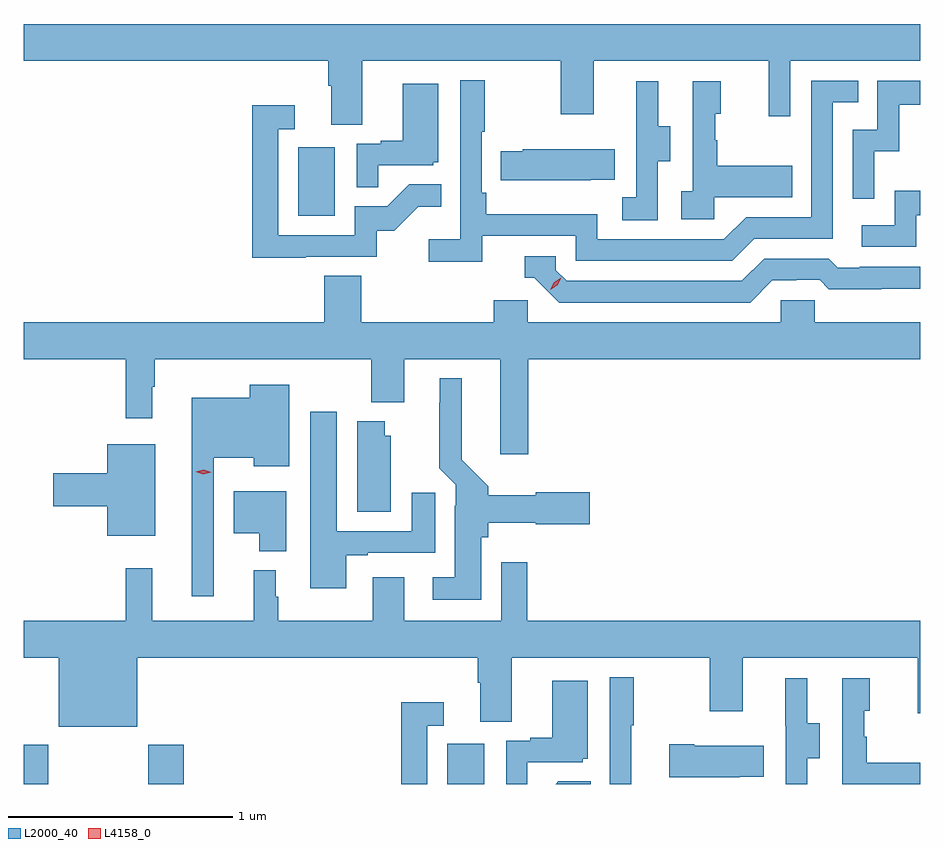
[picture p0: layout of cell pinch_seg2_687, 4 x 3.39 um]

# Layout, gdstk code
import gdstk
lib = gdstk.Library(unit=1e-6, precision=1e-09)
def R(c, l, rs):  # rectangles x0, y0, x1, y1
    for r in rs: c.add(gdstk.rectangle(r[:2], r[2:], *l))
def P(c, l, *ps):  # polygons
    for p in ps: c.add(gdstk.Polygon(p, *l))
L2000_40 = (2000, 40)
L4158_0 = (4158, 0)

pinch_seg2_687 = lib.new_cell('pinch_seg2_687')
R(pinch_seg2_687, L2000_40, [(1084.064,584.468,1084.173,584.644), (1084.618,584.468,1084.778,584.644), (1085.954,584.468,1086.118,584.647), (1085.288,587.004,1085.452,587.311)])
P(pinch_seg2_687, L2000_40, [(1085.575,587.696),(1086.46,587.696),(1086.46,587.457),(1086.607,587.457),(1086.607,587.696),(1087.388,587.696),(1087.388,587.448),(1087.485,587.448),(1087.485,587.696),(1088.064,587.696),(1088.064,587.86),(1084.064,587.86),(1084.064,587.696),(1085.423,587.696),(1085.423,587.584),(1085.435,587.584),(1085.435,587.41),(1085.575,587.41)],
  [(1086.11,586.914),(1086.528,586.914),(1086.528,586.803),(1087.225,586.803),(1087.324,586.902),(1087.674,586.902),(1087.674,587.511),(1087.787,587.511),(1087.787,587.607),(1087.578,587.607),(1087.578,586.998),(1087.287,586.998),(1087.188,586.899),(1086.624,586.899),(1086.624,587.011),(1086.128,587.011),(1086.128,587.107),(1086.108,587.107),(1086.108,587.38),(1086.121,587.38),(1086.121,587.608),(1086.012,587.608),(1086.012,586.9),(1085.871,586.9),(1085.871,586.798),(1086.11,586.798)],
  [(1087.86,587.291),(1087.97,587.291),(1087.97,587.499),(1088.064,587.499),(1088.064,587.607),(1087.872,587.607),(1087.872,587.388),(1087.764,587.388),(1087.764,587.079),(1087.86,587.079)],
  [(1086.894,587.248),(1086.949,587.248),(1086.949,587.403),(1086.895,587.403),(1086.895,587.605),(1086.797,587.605),(1086.797,587.391),(1086.798,587.391),(1086.798,587.087),(1086.735,587.087),(1086.735,586.984),(1086.894,586.984)],
  [(1087.146,587.087),(1087.493,587.087),(1087.493,587.227),(1087.159,587.227),(1087.159,587.342),(1087.149,587.342),(1087.149,587.46),(1087.174,587.46),(1087.174,587.605),(1087.05,587.605),(1087.05,587.114),(1086.999,587.114),(1086.999,586.989),(1087.146,586.989)],
  [(1085.645,587.229),(1085.892,587.229),(1085.892,587.244),(1085.914,587.244),(1085.914,587.593),(1085.756,587.593),(1085.756,587.338),(1085.657,587.338),(1085.657,587.325),(1085.55,587.325),(1085.55,587.131),(1085.645,587.131)],
  [(1085.321,586.821),(1085.64,586.821),(1085.64,586.938),(1085.716,586.938),(1085.823,587.045),(1085.927,587.045),(1085.927,587.144),(1085.783,587.144),(1085.685,587.046),(1085.541,587.046),(1085.541,586.917),(1085.199,586.917),(1085.199,587.391),(1085.272,587.391),(1085.272,587.497),(1085.083,587.497),(1085.083,586.816),(1085.321,586.816)],
  [(1086.593,587.165),(1086.701,587.165),(1086.701,587.302),(1086.291,587.302),(1086.291,587.292),(1086.193,587.292),(1086.193,587.162),(1086.593,587.162)],
  [(1088.046,587.007),(1088.064,587.007),(1088.064,587.116),(1087.95,587.116),(1087.95,586.962),(1087.803,586.962),(1087.803,586.866),(1088.046,586.866)],
  [(1087.405,586.716),(1087.512,586.716),(1087.512,586.719),(1087.615,586.719),(1087.657,586.677),(1087.89,586.677),(1087.89,586.679),(1088.064,586.679),(1088.064,586.776),(1087.795,586.776),(1087.795,586.773),(1087.696,586.773),(1087.657,586.812),(1087.368,586.812),(1087.269,586.713),(1086.486,586.713),(1086.438,586.761),(1086.438,586.824),(1086.299,586.824),(1086.299,586.728),(1086.342,586.728),(1086.453,586.617),(1087.306,586.617)],
  [(1084.064,586.364),(1084.519,586.364),(1084.519,586.101),(1084.636,586.101),(1084.636,586.241),(1084.648,586.241),(1084.648,586.364),(1085.614,586.364),(1085.614,586.172),(1085.761,586.172),(1085.761,586.364),(1086.191,586.364),(1086.191,585.939),(1086.314,585.939),(1086.314,586.364),(1088.064,586.364),(1088.064,586.528),(1087.593,586.528),(1087.593,586.626),(1087.443,586.626),(1087.443,586.528),(1086.312,586.528),(1086.312,586.626),(1086.161,586.626),(1086.161,586.528),(1085.57,586.528),(1085.57,586.736),(1085.405,586.736),(1085.405,586.528),(1084.064,586.528)],
  [(1086.106,585.57),(1086.137,585.57),(1086.137,585.635),(1086.348,585.635),(1086.348,585.628),(1086.589,585.628),(1086.589,585.77),(1086.348,585.77),(1086.348,585.757),(1086.137,585.757),(1086.137,585.798),(1086.019,585.916),(1086.019,586.279),(1085.921,586.279),(1085.921,586.169),(1085.917,586.169),(1085.917,585.878),(1085.991,585.804),(1085.991,585.71),(1085.987,585.71),(1085.987,585.391),(1085.889,585.391),(1085.889,585.29),(1086.106,585.29)],
  [(1084.911,585.923),(1085.09,585.923),(1085.09,585.887),(1085.248,585.887),(1085.248,586.249),(1085.073,586.249),(1085.073,586.192),(1084.814,586.192),(1084.814,585.306),(1084.911,585.306)],
  [(1085.503,585.489),(1085.599,585.489),(1085.599,585.501),(1085.899,585.501),(1085.899,585.769),(1085.795,585.769),(1085.795,585.597),(1085.461,585.597),(1085.461,586.129),(1085.342,586.129),(1085.342,585.342),(1085.503,585.342)],
  [(1085.701,586.023),(1085.674,586.023),(1085.674,586.087),(1085.552,586.087),(1085.552,585.682),(1085.701,585.682)],
  [(1084.651,585.985),(1084.436,585.985),(1084.436,585.854),(1084.194,585.854),(1084.194,585.707),(1084.436,585.707),(1084.436,585.575),(1084.651,585.575)],
  [(1085.236,585.775),(1085,585.775),(1085,585.587),(1085.114,585.587),(1085.114,585.506),(1085.236,585.506)],
  [(1084.57,585.032),(1086.089,585.032),(1086.089,584.92),(1086.101,584.92),(1086.101,584.746),(1086.241,584.746),(1086.241,585.032),(1087.126,585.032),(1087.126,584.793),(1087.273,584.793),(1087.273,585.032),(1088.054,585.032),(1088.054,584.784),(1088.064,584.784),(1088.064,585.196),(1086.311,585.196),(1086.311,585.457),(1086.195,585.457),(1086.195,585.196),(1085.761,585.196),(1085.761,585.391),(1085.621,585.391),(1085.621,585.196),(1085.2,585.196),(1085.2,585.303),(1085.188,585.303),(1085.188,585.421),(1085.09,585.421),(1085.09,585.196),(1084.637,585.196),(1084.637,585.43),(1084.519,585.43),(1084.519,585.196),(1084.064,585.196),(1084.064,585.032),(1084.22,585.032),(1084.22,584.723),(1084.57,584.723)],
  [(1086.775,584.731),(1086.787,584.731),(1086.787,584.944),(1086.678,584.944),(1086.678,584.468),(1086.775,584.468)],
  [(1087.56,584.584),(1087.615,584.584),(1087.615,584.739),(1087.561,584.739),(1087.561,584.941),(1087.463,584.941),(1087.463,584.727),(1087.464,584.727),(1087.464,584.468),(1087.56,584.468)],
  [(1088.064,584.563),(1087.825,584.563),(1087.825,584.678),(1087.815,584.678),(1087.815,584.796),(1087.84,584.796),(1087.84,584.941),(1087.716,584.941),(1087.716,584.468),(1088.064,584.468)],
  [(1086.311,584.565),(1086.558,584.565),(1086.558,584.58),(1086.58,584.58),(1086.58,584.929),(1086.422,584.929),(1086.422,584.674),(1086.323,584.674),(1086.323,584.661),(1086.216,584.661),(1086.216,584.468),(1086.311,584.468)],
  [(1085.865,584.727),(1085.938,584.727),(1085.938,584.833),(1085.749,584.833),(1085.749,584.468),(1085.865,584.468)],
  [(1087.259,584.501),(1087.367,584.501),(1087.367,584.638),(1087.057,584.638),(1087.057,584.646),(1086.945,584.646),(1086.945,584.498),(1087.259,584.498)],
  [(1086.593,584.48),(1086.449,584.48),(1086.437,584.468),(1086.593,584.468)])
P(pinch_seg2_687, L4158_0, [(1084.865,585.851),(1084.83,585.862),(1084.829,585.862),(1084.83,585.862),(1084.866,585.871),(1084.901,585.859),(1084.901,585.859),(1084.901,585.859)],
  [(1086.414,586.675),(1086.414,586.675),(1086.43,586.708),(1086.462,586.727),(1086.462,586.727),(1086.462,586.727),(1086.445,586.694),(1086.414,586.675)])

lib.write_gds('pinch_seg2_687.gds')
